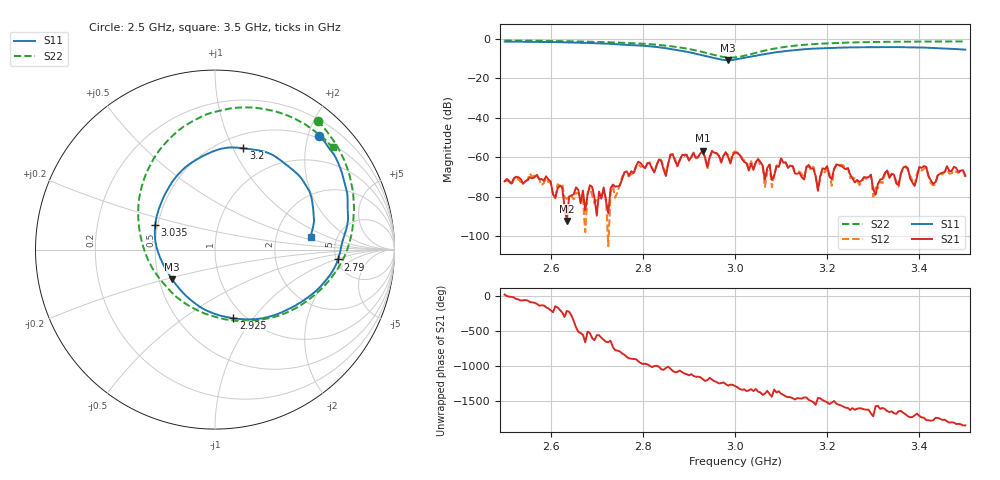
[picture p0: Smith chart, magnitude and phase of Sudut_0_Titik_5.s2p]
# Hz S RI R 50
! CMT, C1220, 16058040, 17.2.0/1
! Date: 15/08/2018 10:22:21
! Data: Format (Calibration Info)
! Freq  S11: Re/Im (F2)  S21: Re/Im (F2)  S12: Re/Im (F2)  S22: Re/Im (F2)
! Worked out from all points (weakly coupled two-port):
!   201 points, 2.5 GHz to 3.5 GHz, reference 50 ohm
!   highest |S21| = -56.60 dB at 2.93 GHz (marker M1); lowest = -92.2 dB at 2.635 GHz (marker M2)
!   lowest |S11| = -10.7 dB at 2.985 GHz (marker M3), VSWR 1.82, Z = 29.3 - j10.7 ohm
!   |S11| at or under -10 dB: 2.961 GHz to 3.009 GHz (47.88 MHz wide, 1.6 % of centre)
!   |S22| runs from -9.4 to -0.7 dB; largest |S21 - S12| = 0.00019
!   S11 on the Smith chart (normalised r, x): 2.5 GHz: 0.45, +2.20; 2.79 GHz: 5.18, -1.08; 2.925 GHz: 0.89, -0.80; 3.035 GHz: 0.48, +0.15; 3.2 GHz: 0.64, +1.10; 3.5 GHz: 3.18, +0.65
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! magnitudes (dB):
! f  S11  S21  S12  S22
! 2.5 GHz  -1.3  -72.1  -71.8  -0.7
! 2.635 GHz  -1.7  -92.2  -80.9  -1.1
! 2.67 GHz  -1.9  -76.7  -80.9  -1.3
! 2.725 GHz  -2.4  -88.3  -104.9  -1.6
! 2.79 GHz  -3.2  -62.2  -63.2  -2.3
! 2.835 GHz  -4.2  -61.0  -60.8  -3.0
! 2.925 GHz  -8.0  -57.8  -58.3  -6.3
! 2.93 GHz  -8.3  -56.6  -56.9  -6.6
! 2.985 GHz  -10.7  -59.7  -58.8  -9.3
! 3 GHz  -10.4  -57.4  -56.9  -9.3
! 3.035 GHz  -8.9  -63.1  -61.9  -7.6
! 3.065 GHz  -7.7  -71.2  -75.0  -5.8
! 3.1 GHz  -6.4  -60.7  -60.4  -4.3
! 3.17 GHz  -4.9  -65.6  -64.7  -2.6
! 3.18 GHz  -4.8  -76.6  -76.9  -2.4
! 3.2 GHz  -4.6  -64.4  -65.0  -2.2
! 3.21 GHz  -4.6  -70.9  -74.3  -2.1
! 3.22 GHz  -4.5  -63.5  -63.8  -2.0
! 3.295 GHz  -4.2  -68.7  -68.8  -1.6
! 3.3 GHz  -4.2  -76.2  -79.9  -1.5
! 3.335 GHz  -4.1  -70.4  -69.1  -1.4
! 3.5 GHz  -5.4  -69.2  -69.8  -1.2
